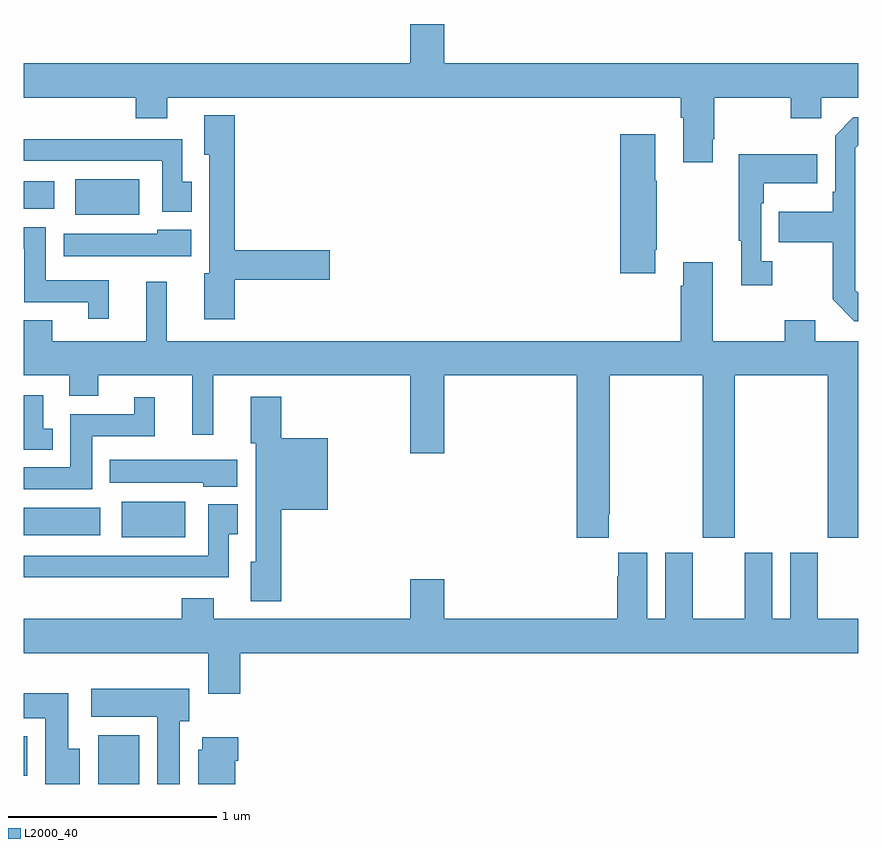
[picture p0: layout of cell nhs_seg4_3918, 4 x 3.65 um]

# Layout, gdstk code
import gdstk
lib = gdstk.Library(unit=1e-6, precision=1e-09)
def R(c, l, rs):  # rectangles x0, y0, x1, y1
    for r in rs: c.add(gdstk.rectangle(r[:2], r[2:], *l))
def P(c, l, *ps):  # polygons
    for p in ps: c.add(gdstk.Polygon(p, *l))
L2000_40 = (2000, 40)

nhs_seg4_3918 = lib.new_cell('nhs_seg4_3918')
R(nhs_seg4_3918, L2000_40, [(319.355,754.9,319.552,755.134), (319,754.94,319.015,755.128), (319.469,756.083,319.774,756.253), (319,756.092,319.366,756.226), (319.247,757.631,319.552,757.801), (319,757.658,319.144,757.792)])
P(nhs_seg4_3918, L2000_40, [(319,758.192),(319.535,758.192),(319.535,758.093),(319.687,758.093),(319.687,758.192),(322.151,758.192),(322.151,758.096),(322.163,758.096),(322.163,757.881),(322.303,757.881),(322.303,757.993),(322.311,757.993),(322.311,758.192),(322.678,758.192),(322.678,758.093),(322.824,758.093),(322.824,758.192),(323,758.192),(323,758.356),(321.016,758.356),(321.016,758.545),(320.852,758.545),(320.852,758.356),(319,758.356)],
  [(320.012,757.318),(320.467,757.318),(320.467,757.46),(320.012,757.46),(320.012,758.107),(319.865,758.107),(319.865,757.917),(319.889,757.917),(319.889,757.35),(319.865,757.35),(319.865,757.128),(320.012,757.128)],
  [(323,757.255),(322.986,757.269),(322.986,757.95),(323,757.964),(323,758.097),(322.977,758.097),(322.89,758.01),(322.89,757.741),(322.878,757.741),(322.878,757.645),(322.621,757.645),(322.621,757.498),(322.878,757.498),(322.878,757.225),(322.983,757.119),(323,757.119)],
  [(322.027,757.462),(322.035,757.462),(322.035,757.793),(322.027,757.793),(322.027,758.017),(321.86,758.017),(321.86,757.35),(322.027,757.35)],
  [(319.804,757.788),(319.759,757.788),(319.759,757.993),(319,757.993),(319,757.889),(319.662,757.889),(319.662,757.644),(319.804,757.644)],
  [(322.588,757.406),(322.536,757.406),(322.536,757.685),(322.549,757.685),(322.549,757.781),(322.805,757.781),(322.805,757.921),(322.428,757.921),(322.428,757.505),(322.439,757.505),(322.439,757.293),(322.588,757.293)],
  [(319.406,757.315),(319.105,757.315),(319.105,757.57),(319,757.57),(319,757.466),(319.001,757.466),(319.001,757.211),(319.307,757.211),(319.307,757.131),(319.406,757.131)],
  [(319.801,757.558),(319.638,757.558),(319.638,757.54),(319.19,757.54),(319.19,757.43),(319.801,757.43)],
  [(321.805,756.193),(321.81,756.193),(321.81,756.86),(322.255,756.86),(322.255,756.081),(322.41,756.081),(322.41,756.86),(322.855,756.86),(322.855,756.081),(323,756.081),(323,757.024),(322.795,757.024),(322.795,757.123),(322.648,757.123),(322.648,757.024),(322.303,757.024),(322.303,757.402),(322.163,757.402),(322.163,757.289),(322.151,757.289),(322.151,757.024),(319.685,757.024),(319.685,757.309),(319.586,757.309),(319.586,757.024),(319.135,757.024),(319.135,757.123),(319,757.123),(319,756.86),(319.217,756.86),(319.217,756.761),(319.357,756.761),(319.357,756.86),(319.808,756.86),(319.808,756.576),(319.907,756.576),(319.907,756.86),(320.852,756.86),(320.852,756.486),(321.016,756.486),(321.016,756.86),(321.65,756.86),(321.65,756.081),(321.805,756.081)],
  [(319.138,756.603),(319.092,756.603),(319.092,756.765),(319,756.765),(319,756.503),(319.138,756.503)],
  [(320.234,756.215),(320.458,756.215),(320.458,756.559),(320.234,756.559),(320.234,756.757),(320.087,756.757),(320.087,756.534),(320.111,756.534),(320.111,755.967),(320.087,755.967),(320.087,755.777),(320.234,755.777)],
  [(319.327,756.569),(319.628,756.569),(319.628,756.754),(319.529,756.754),(319.529,756.673),(319.223,756.673),(319.223,756.418),(319,756.418),(319,756.314),(319.327,756.314)],
  [(320.023,756.454),(319.412,756.454),(319.412,756.344),(319.86,756.344),(319.86,756.326),(320.023,756.326)],
  [(319.981,756.097),(320.026,756.097),(320.026,756.241),(319.884,756.241),(319.884,755.995),(319,755.995),(319,755.891),(319.981,755.891)],
  [(320.036,755.528),(323,755.528),(323,755.692),(322.807,755.692),(322.807,756.01),(322.676,756.01),(322.676,755.692),(322.588,755.692),(322.588,756.01),(322.457,756.01),(322.457,755.692),(322.207,755.692),(322.207,756.01),(322.076,756.01),(322.076,755.692),(321.988,755.692),(321.988,756.01),(321.851,756.01),(321.851,755.897),(321.845,755.897),(321.845,755.692),(321.016,755.692),(321.016,755.881),(320.852,755.881),(320.852,755.692),(319.909,755.692),(319.909,755.791),(319.757,755.791),(319.757,755.692),(319,755.692),(319,755.528),(319.883,755.528),(319.883,755.334),(320.036,755.334)],
  [(319.747,755.202),(319.792,755.202),(319.792,755.356),(319.323,755.356),(319.323,755.222),(319.64,755.222),(319.64,754.9),(319.747,754.9)],
  [(319.267,755.068),(319.213,755.068),(319.213,755.335),(319,755.335),(319,755.216),(319.103,755.216),(319.103,754.9),(319.267,754.9)],
  [(320.014,755.012),(320.027,755.012),(320.027,755.125),(319.856,755.125),(319.856,755.064),(319.835,755.064),(319.835,754.9),(320.014,754.9)])

lib.write_gds('nhs_seg4_3918.gds')
